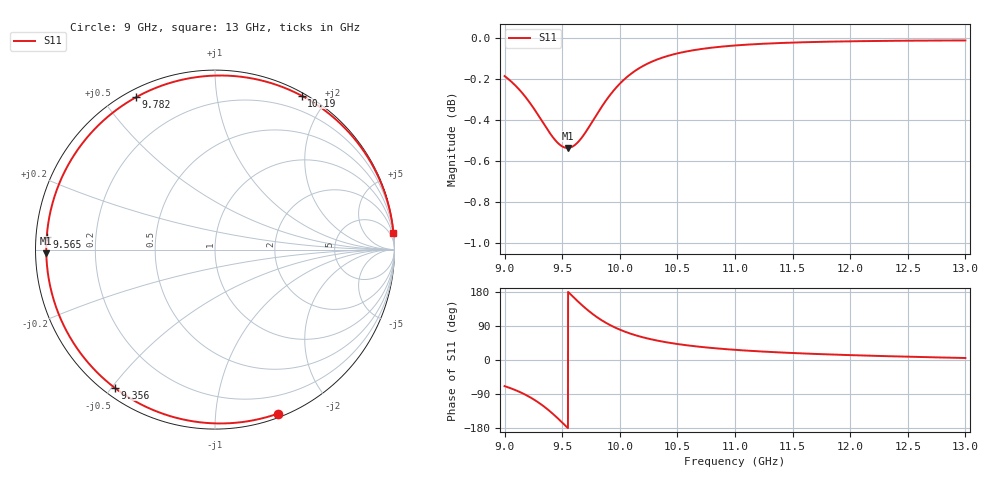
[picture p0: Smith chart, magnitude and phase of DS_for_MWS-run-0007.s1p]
! TOUCHSTONE file generated by CST DESIGN STUDIO
! Date and time: Tue Feb  4 13:49:57 2025
! Project name: C:\Work\MatlabApps\UnitCellOptimizationMatlab\CST\unitcell.cst
! Tree item: Tasks\Sweep1\SPara1\S-Parameters
! Header version: 2024
! Port assignment regex: !\s*Touchstone port\s*([0-9]+)\s*=\s*(CST MWS port|CST DES external port|CST DES block port)\s*(.+)\s* \(\"(.*)\"\)(\s*mode\s*([0-9]+))?.*
! Touchstone port assignment:
! Touchstone port 1 = CST DES external port 1 ("")
# GHz S MA R 50
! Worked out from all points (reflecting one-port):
!   4001 points, 9 GHz to 13 GHz, reference 50 ohm
!   lowest |S11| = -0.5 dB at 9.546 GHz (marker M1), VSWR 32.42, Z = 1.54 - j0.559 ohm
!   phase of S11 starts at -69 deg and turns -286 deg over the sweep
!   S11 on the Smith chart (normalised r, x): 9 GHz: 0.03, -1.46; 9.356 GHz: 0.03, -0.51; 9.565 GHz: 0.03, +0.04; 9.782 GHz: 0.03, +0.61; 10.19 GHz: 0.03, +1.71; 13 GHz: 0, +22
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9  0.9787 -69.0
9.101  0.9731 -80.4
9.211  0.9649 -96.6
9.287  0.958 -110.7
9.356  0.9514 -126.0
9.425  0.9453 -143.7
9.464  0.9426 -154.5
9.5  0.941 -165.0
9.546  0.9401 -178.7
9.565  0.9403 175.6
9.619  0.9421 159.6
9.68  0.9464 142.4
9.731  0.9511 129.3
9.782  0.9561 117.3
9.829  0.9607 107.5
9.879  0.9653 98.2
9.935  0.97 89.2
10  0.9746 80.1
10.091  0.9797 69.7
10.191  0.9839 60.6
10.332  0.988 50.8
10.5  0.9912 42.2
10.721  0.9938 34.0
11  0.9956 26.8
11.5  0.9972 18.4
12  0.998 12.9
12.5  0.9983 8.7
13  0.9984 5.3
